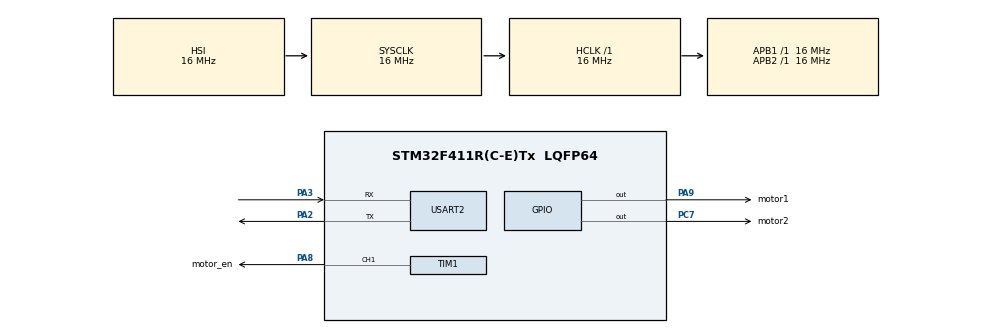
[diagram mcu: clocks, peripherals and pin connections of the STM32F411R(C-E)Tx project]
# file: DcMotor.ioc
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Mcu.Family=STM32F4
Mcu.Name=STM32F411R(C-E)Tx
Mcu.Package=LQFP64
NVIC.PriorityGroup=NVIC_PRIORITYGROUP_4
NVIC.USART2_IRQn=true\:0\:0\:false\:false\:true\:true\:true\:true
PA2.Mode=Asynchronous
PA2.Signal=USART2_TX
PA3.Mode=Asynchronous
PA3.Signal=USART2_RX
PA8.GPIO_Label=motor_en
PA8.Signal=S_TIM1_CH1
PA9.GPIO_Label=motor1
PA9.Signal=GPIO_Output
PC7.GPIO_Label=motor2
PC7.Signal=GPIO_Output
ProjectManager.HeapSize=0x200
ProjectManager.StackSize=0x400
ProjectManager.TargetToolchain=STM32CubeIDE
RCC.AHBFreq_Value=16000000
RCC.APB1Freq_Value=16000000
RCC.APB2Freq_Value=16000000
RCC.CortexFreq_Value=16000000
RCC.HSE_VALUE=25000000
RCC.HSI_VALUE=16000000
RCC.LSE_VALUE=32768
RCC.SYSCLKFreq_VALUE=16000000
RCC.VCOOutputFreq_Value=192000000
SH.S_TIM1_CH1.0=TIM1_CH1,PWM Generation1 CH1
TIM1.Channel-PWM\ Generation1\ CH1=TIM_CHANNEL_1
TIM1.Period=1000-1
TIM1.Prescaler=16-1
USART2.VirtualMode=VM_ASYNC
VP_TIM1_VS_ClockSourceINT.Mode=Internal
board=custom

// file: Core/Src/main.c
/* USER CODE BEGIN Header */
/**
  ******************************************************************************
  * @file           : main.c
  * @brief          : Main program body
  ******************************************************************************
  * @attention
  *
  * Copyright (c) 2024 STMicroelectronics.
  * All rights reserved.
  *
  * This software is licensed under terms that can be found in the LICENSE file
  * in the root directory of this software component.
  * If no LICENSE file comes with this software, it is provided AS-IS.
  *
  ******************************************************************************
  */
/* USER CODE END Header */
#include "main.h"

/* USER CODE BEGIN Includes */
#include "uart.h"
/* USER CODE END Includes */

TIM_HandleTypeDef htim1;

UART_HandleTypeDef huart2;

void SystemClock_Config(void);
static void MX_GPIO_Init(void);
static void MX_USART2_UART_Init(void);
static void MX_TIM1_Init(void);

int main(void)
{

  /* MCU Configuration--------------------------------------------------------*/

  /* Reset of all peripherals, Initializes the Flash interface and the Systick. */
  HAL_Init();

  /* Configure the system clock */
  SystemClock_Config();

  /* Initialize all configured peripherals */
  MX_GPIO_Init();
  MX_USART2_UART_Init();
  MX_TIM1_Init();
  /* USER CODE BEGIN 2 */
  initUart(&huart2);
  HAL_TIM_PWM_Start(&htim1, TIM_CHANNEL_1);
  printf("DC motor example.\n");
  /* USER CODE END 2 */

  /* Infinite loop */
  /* USER CODE BEGIN WHILE */
  while (1)
  {
  	HAL_GPIO_WritePin(motor1_GPIO_Port, motor1_Pin, 0);
  	HAL_GPIO_WritePin(motor2_GPIO_Port, motor2_Pin, 1);
  	printf("motor is cw\n");
  	//speed increase
  	for(int i = 1; i < 1000; i *= 2){
  		htim1.Instance->CCR1 = i;
  		HAL_Delay(100);
  	}
  	HAL_Delay(1000);
  	//speed decrease
  	for(int i = 1; i < 1000; i *= 2){
  		htim1.Instance->CCR1 = 999 - i;
  		HAL_Delay(100);
  	}
  	HAL_Delay(1000);

  	HAL_GPIO_WritePin(motor1_GPIO_Port, motor1_Pin, 1);
  	HAL_GPIO_WritePin(motor2_GPIO_Port, motor2_Pin, 0);
  	printf("motor is ccw\n");

  	//speed increase
  	for(int i = 1; i < 1000; i *= 2){
  		htim1.Instance->CCR1 = i;
  		HAL_Delay(100);
  	}
  	HAL_Delay(1000);
  	//speed decrease
  	for(int i = 1; i < 1000; i *= 2){
  		htim1.Instance->CCR1 = 999 - i;
  		HAL_Delay(100);
  	}
  	HAL_Delay(1000);
    /* USER CODE END WHILE */

  }
}

void SystemClock_Config(void)
{
  RCC_OscInitTypeDef RCC_OscInitStruct = {0};
  RCC_ClkInitTypeDef RCC_ClkInitStruct = {0};

  /** Configure the main internal regulator output voltage
  */
  __HAL_RCC_PWR_CLK_ENABLE();
  __HAL_PWR_VOLTAGESCALING_CONFIG(PWR_REGULATOR_VOLTAGE_SCALE1);

  /** Initializes the RCC Oscillators according to the specified parameters
  * in the RCC_OscInitTypeDef structure.
  */
  RCC_OscInitStruct.OscillatorType = RCC_OSCILLATORTYPE_HSI;
  RCC_OscInitStruct.HSIState = RCC_HSI_ON;
  RCC_OscInitStruct.HSICalibrationValue = RCC_HSICALIBRATION_DEFAULT;
  RCC_OscInitStruct.PLL.PLLState = RCC_PLL_NONE;
  if (HAL_RCC_OscConfig(&RCC_OscInitStruct) != HAL_OK)
  {
    Error_Handler();
  }

  /** Initializes the CPU, AHB and APB buses clocks
  */
  RCC_ClkInitStruct.ClockType = RCC_CLOCKTYPE_HCLK|RCC_CLOCKTYPE_SYSCLK
                              |RCC_CLOCKTYPE_PCLK1|RCC_CLOCKTYPE_PCLK2;
  RCC_ClkInitStruct.SYSCLKSource = RCC_SYSCLKSOURCE_HSI;
  RCC_ClkInitStruct.AHBCLKDivider = RCC_SYSCLK_DIV1;
  RCC_ClkInitStruct.APB1CLKDivider = RCC_HCLK_DIV1;
  RCC_ClkInitStruct.APB2CLKDivider = RCC_HCLK_DIV1;

  if (HAL_RCC_ClockConfig(&RCC_ClkInitStruct, FLASH_LATENCY_0) != HAL_OK)
  {
    Error_Handler();
  }
}

static void MX_TIM1_Init(void)
{

  TIM_ClockConfigTypeDef sClockSourceConfig = {0};
  TIM_MasterConfigTypeDef sMasterConfig = {0};
  TIM_OC_InitTypeDef sConfigOC = {0};
  TIM_BreakDeadTimeConfigTypeDef sBreakDeadTimeConfig = {0};

  htim1.Instance = TIM1;
  htim1.Init.Prescaler = 16-1;
  htim1.Init.CounterMode = TIM_COUNTERMODE_UP;
  htim1.Init.Period = 1000-1;
  htim1.Init.ClockDivision = TIM_CLOCKDIVISION_DIV1;
  htim1.Init.RepetitionCounter = 0;
  htim1.Init.AutoReloadPreload = TIM_AUTORELOAD_PRELOAD_DISABLE;
  if (HAL_TIM_Base_Init(&htim1) != HAL_OK)
  {
    Error_Handler();
  }
  sClockSourceConfig.ClockSource = TIM_CLOCKSOURCE_INTERNAL;
  if (HAL_TIM_ConfigClockSource(&htim1, &sClockSourceConfig) != HAL_OK)
  {
    Error_Handler();
  }
  if (HAL_TIM_PWM_Init(&htim1) != HAL_OK)
  {
    Error_Handler();
  }
  sMasterConfig.MasterOutputTrigger = TIM_TRGO_RESET;
  sMasterConfig.MasterSlaveMode = TIM_MASTERSLAVEMODE_DISABLE;
  if (HAL_TIMEx_MasterConfigSynchronization(&htim1, &sMasterConfig) != HAL_OK)
  {
    Error_Handler();
  }
  sConfigOC.OCMode = TIM_OCMODE_PWM1;
  sConfigOC.Pulse = 0;
  sConfigOC.OCPolarity = TIM_OCPOLARITY_HIGH;
  sConfigOC.OCNPolarity = TIM_OCNPOLARITY_HIGH;
  sConfigOC.OCFastMode = TIM_OCFAST_DISABLE;
  sConfigOC.OCIdleState = TIM_OCIDLESTATE_RESET;
  sConfigOC.OCNIdleState = TIM_OCNIDLESTATE_RESET;
  if (HAL_TIM_PWM_ConfigChannel(&htim1, &sConfigOC, TIM_CHANNEL_1) != HAL_OK)
  {
    Error_Handler();
  }
  sBreakDeadTimeConfig.OffStateRunMode = TIM_OSSR_DISABLE;
  sBreakDeadTimeConfig.OffStateIDLEMode = TIM_OSSI_DISABLE;
  sBreakDeadTimeConfig.LockLevel = TIM_LOCKLEVEL_OFF;
  sBreakDeadTimeConfig.DeadTime = 0;
  sBreakDeadTimeConfig.BreakState = TIM_BREAK_DISABLE;
  sBreakDeadTimeConfig.BreakPolarity = TIM_BREAKPOLARITY_HIGH;
  sBreakDeadTimeConfig.AutomaticOutput = TIM_AUTOMATICOUTPUT_DISABLE;
  if (HAL_TIMEx_ConfigBreakDeadTime(&htim1, &sBreakDeadTimeConfig) != HAL_OK)
  {
    Error_Handler();
  }
  HAL_TIM_MspPostInit(&htim1);

}

static void MX_USART2_UART_Init(void)
{

  huart2.Instance = USART2;
  huart2.Init.BaudRate = 115200;
  huart2.Init.WordLength = UART_WORDLENGTH_8B;
  huart2.Init.StopBits = UART_STOPBITS_1;
  huart2.Init.Parity = UART_PARITY_NONE;
  huart2.Init.Mode = UART_MODE_TX_RX;
  huart2.Init.HwFlowCtl = UART_HWCONTROL_NONE;
  huart2.Init.OverSampling = UART_OVERSAMPLING_16;
  if (HAL_UART_Init(&huart2) != HAL_OK)
  {
    Error_Handler();
  }

}

static void MX_GPIO_Init(void)
{
  GPIO_InitTypeDef GPIO_InitStruct = {0};

  /* GPIO Ports Clock Enable */
  __HAL_RCC_GPIOA_CLK_ENABLE();
  __HAL_RCC_GPIOC_CLK_ENABLE();

  /*Configure GPIO pin Output Level */
  HAL_GPIO_WritePin(motor2_GPIO_Port, motor2_Pin, GPIO_PIN_RESET);

  /*Configure GPIO pin Output Level */
  HAL_GPIO_WritePin(motor1_GPIO_Port, motor1_Pin, GPIO_PIN_RESET);

  /*Configure GPIO pin : motor2_Pin */
  GPIO_InitStruct.Pin = motor2_Pin;
  GPIO_InitStruct.Mode = GPIO_MODE_OUTPUT_PP;
  GPIO_InitStruct.Pull = GPIO_NOPULL;
  GPIO_InitStruct.Speed = GPIO_SPEED_FREQ_LOW;
  HAL_GPIO_Init(motor2_GPIO_Port, &GPIO_InitStruct);

  /*Configure GPIO pin : motor1_Pin */
  GPIO_InitStruct.Pin = motor1_Pin;
  GPIO_InitStruct.Mode = GPIO_MODE_OUTPUT_PP;
  GPIO_InitStruct.Pull = GPIO_NOPULL;
  GPIO_InitStruct.Speed = GPIO_SPEED_FREQ_LOW;
  HAL_GPIO_Init(motor1_GPIO_Port, &GPIO_InitStruct);

}

void Error_Handler(void)
{
  __disable_irq();
  while (1)
  {
  }
}
